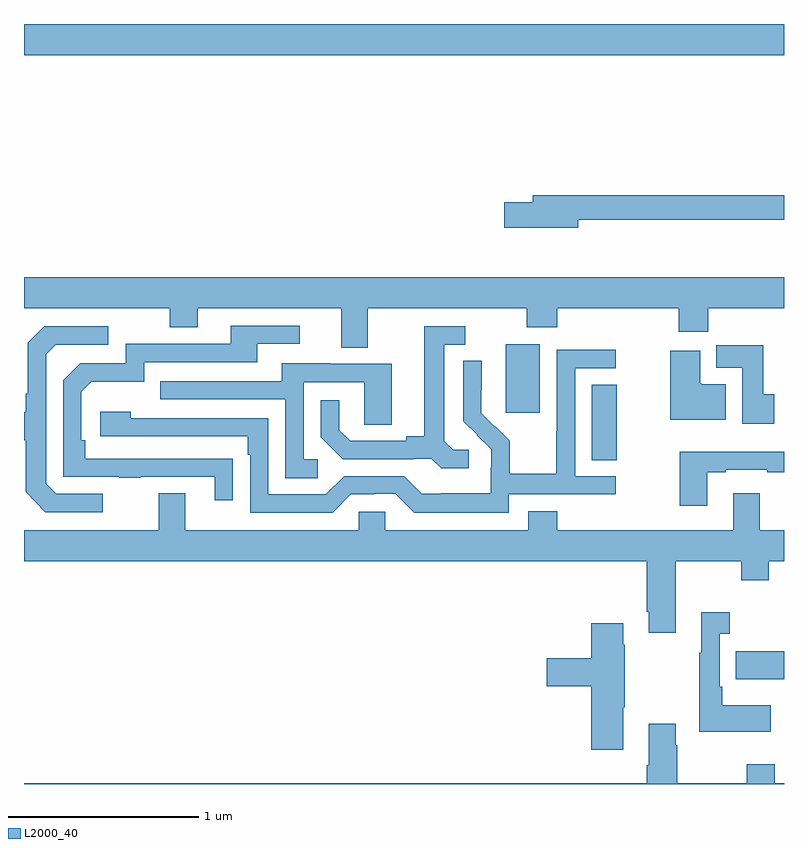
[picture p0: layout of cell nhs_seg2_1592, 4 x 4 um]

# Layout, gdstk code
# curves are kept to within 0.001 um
import gdstk
lib = gdstk.Library(unit=1e-6, precision=1e-09)
def R(c, l, rs):  # rectangles x0, y0, x1, y1
    for r in rs: c.add(gdstk.rectangle(r[:2], r[2:], *l))
def P(c, l, *ps):  # polygons
    for p in ps: c.add(gdstk.Polygon(p, *l))
L2000_40 = (2000, 40)

nhs_seg2_1592 = lib.new_cell('nhs_seg2_1592')
R(nhs_seg2_1592, L2000_40, [(196.747,644.351,197,644.499), (195.989,645.505,196.12,645.902), (195.536,645.753,195.715,646.114), (193,647.636,197,647.8)])
P(nhs_seg2_1592, L2000_40, [(195.916,646.77),(197,646.77),(197,646.898),(195.677,646.898),(195.677,646.862),(195.528,646.862),(195.528,646.727),(195.916,646.727)],
  [(194.809,646.304),(195.646,646.304),(195.646,646.205),(195.806,646.205),(195.806,646.304),(196.445,646.304),(196.445,646.18),(196.601,646.18),(196.601,646.304),(197,646.304),(197,646.468),(193,646.468),(193,646.304),(193.768,646.304),(193.768,646.205),(193.915,646.205),(193.915,646.304),(194.669,646.304),(194.669,646.096),(194.809,646.096)],
  [(194.099,645.512),(193.322,645.513),(193.322,645.61),(193.302,645.61),(193.302,645.864),(193.355,645.917),(193.632,645.917),(193.632,646.02),(194.227,646.02),(194.227,646.116),(194.452,646.116),(194.452,646.212),(194.087,646.212),(194.087,646.116),(193.536,646.116),(193.536,646.014),(193.296,646.014),(193.206,645.924),(193.206,645.417),(193.501,645.417),(193.501,645.412),(193.613,645.412),(193.613,645.417),(194.003,645.417),(194.003,645.294),(194.099,645.294)],
  [(195.34,645.558),(195.258,645.558),(195.211,645.605),(195.211,646.113),(195.322,646.113),(195.322,646.209),(195.107,646.209),(195.107,645.629),(195.011,645.629),(195.011,645.606),(194.716,645.606),(194.659,645.663),(194.659,645.82),(194.562,645.82),(194.562,645.626),(194.678,645.51),(195.05,645.51),(195.05,645.513),(195.144,645.513),(195.196,645.461),(195.34,645.461)],
  [(193.414,645.327),(193.17,645.327),(193.116,645.381),(193.116,646.062),(193.167,646.113),(193.444,646.113),(193.444,646.209),(193.107,646.209),(193.02,646.122),(193.02,645.853),(193.008,645.853),(193.008,645.757),(193,645.757),(193,645.61),(193.008,645.61),(193.008,645.337),(193.113,645.231),(193.414,645.231)],
  [(196.948,645.852),(196.891,645.852),(196.891,646.11),(196.643,646.11),(196.643,645.992),(196.781,645.992),(196.781,645.696),(196.948,645.696)],
  [(195.552,645.324),(196.114,645.324),(196.114,645.42),(195.9,645.42),(195.9,645.987),(196.114,645.987),(196.114,646.086),(195.804,646.086),(195.804,645.656),(195.802,645.656),(195.802,645.433),(195.557,645.433),(195.557,645.607),(195.48,645.684),(195.477,645.681),(195.407,645.752),(195.408,646.028),(195.312,646.028),(195.312,645.71),(195.458,645.562),(195.458,645.465),(195.456,645.465),(195.456,645.331),(195.193,645.331),(195.193,645.327),(195.093,645.327),(195,645.42),(194.685,645.42),(194.589,645.324),(194.286,645.324),(194.286,645.726),(193.562,645.726),(193.562,645.76),(193.401,645.76),(193.401,645.63),(194.177,645.63),(194.177,645.533),(194.19,645.533),(194.19,645.228),(194.625,645.228),(194.721,645.324),(194.84,645.324),(194.84,645.327),(194.955,645.327),(195.055,645.227),(195.552,645.227)],
  [(196.693,645.904),(196.564,645.904),(196.564,645.91),(196.558,645.91),(196.558,646.081),(196.4,646.081),(196.4,645.716),(196.693,645.716)],
  [(194.545,645.51),(194.472,645.51),(194.472,645.915),(194.79,645.915),(194.79,645.691),(194.935,645.691),(194.935,646.011),(194.611,646.011),(194.611,646.015),(194.357,646.015),(194.357,645.921),(193.717,645.921),(193.717,645.825),(194.376,645.825),(194.376,645.409),(194.545,645.409)],
  [(196.597,645.441),(196.693,645.441),(196.693,645.453),(196.913,645.453),(196.913,645.441),(197,645.441),(197,645.55),(196.45,645.55),(196.45,645.264),(196.597,645.264)],
  [(196.429,644.972),(196.774,644.972),(196.774,644.873),(196.921,644.873),(196.921,644.972),(197,644.972),(197,645.136),(196.873,645.136),(196.873,645.331),(196.733,645.331),(196.733,645.136),(195.806,645.136),(195.806,645.235),(195.653,645.235),(195.653,645.136),(194.901,645.136),(194.901,645.234),(194.763,645.234),(194.763,645.136),(193.849,645.136),(193.849,645.331),(193.709,645.331),(193.709,645.136),(193,645.136),(193,644.972),(196.277,644.972),(196.277,644.707),(196.289,644.707),(196.289,644.595),(196.429,644.595)],
  [(196.931,644.215),(196.675,644.215),(196.675,644.311),(196.662,644.311),(196.662,644.591),(196.714,644.591),(196.714,644.704),(196.565,644.704),(196.565,644.491),(196.554,644.491),(196.554,644.075),(196.931,644.075)],
  [(196.153,644.203),(196.161,644.203),(196.161,644.534),(196.153,644.534),(196.153,644.647),(195.986,644.647),(195.986,644.462),(195.75,644.462),(195.75,644.315),(195.986,644.315),(195.986,643.98),(196.153,643.98)],
  [(197,643.804),(196.95,643.804),(196.95,643.903),(196.804,643.903),(196.804,643.804),(196.437,643.804),(196.437,644.003),(196.429,644.003),(196.429,644.116),(196.289,644.116),(196.289,643.9),(196.277,643.9),(196.277,643.804),(193,643.804),(193,643.8),(197,643.8)])

lib.write_gds('nhs_seg2_1592.gds')
